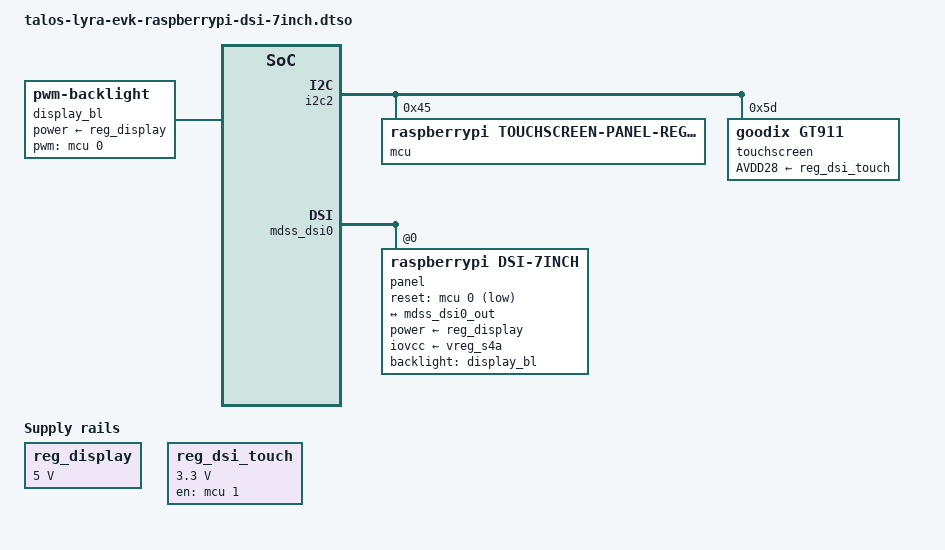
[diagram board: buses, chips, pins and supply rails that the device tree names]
// SPDX-License-Identifier: BSD-3-Clause
/*
 * Copyright (c) Qualcomm Technologies, Inc. and/or its subsidiaries.
 */
/dts-v1/;
/plugin/;

#include <dt-bindings/gpio/gpio.h>

&{/} {
	display_bl: backlight {
		compatible = "pwm-backlight";
		power-supply = <&reg_display>;
		pwms = <&mcu 0 255 0>;
	};

	reg_display: regulator-display {
		compatible = "regulator-fixed";
		regulator-name = "rpi-display";
		regulator-min-microvolt = <5000000>;
		regulator-max-microvolt = <5000000>;
	};

	reg_dsi_touch: regulator-dsi-touch {
		compatible = "regulator-fixed";
		gpio = <&mcu 1 GPIO_ACTIVE_HIGH>;
		regulator-name = "rpi-touch";
		regulator-min-microvolt = <3300000>;
		regulator-max-microvolt = <3300000>;
		startup-delay-us = <50000>;
		enable-active-high;
	};
};

&hdmi_bridge {
	status = "disabled";
};

&hdmi_connector {
	status = "disabled";
};

&i2c2 {
	#address-cells = <1>;
	#size-cells = <0>;

	mcu: gpio@45 {
		compatible = "raspberrypi,touchscreen-panel-regulator-v2";
		reg = <0x45>;
		gpio-controller;
		#gpio-cells = <2>;
		#pwm-cells = <3>;
	};

	touchscreen@5d {
		compatible = "goodix,gt911";
		reg = <0x5d>;
		AVDD28-supply = <&reg_dsi_touch>;
		touchscreen-size-x = <720>;
		touchscreen-size-y = <1280>;
	};
};

&mdss_dsi0 {
	#address-cells = <1>;
	#size-cells = <0>;

	panel@0 {
		compatible = "raspberrypi,dsi-7inch";
		reg = <0>;

		reset-gpios = <&mcu 0 GPIO_ACTIVE_LOW>;
		power-supply = <&reg_display>;
		iovcc-supply = <&vreg_s4a>;
		backlight = <&display_bl>;

		port {
			panel_in: endpoint {
				remote-endpoint = <&mdss_dsi0_out>;
			};
		};
	};
};

&mdss_dsi0_out {
	remote-endpoint = <&panel_in>;
	data-lanes = <0 1>;
};
